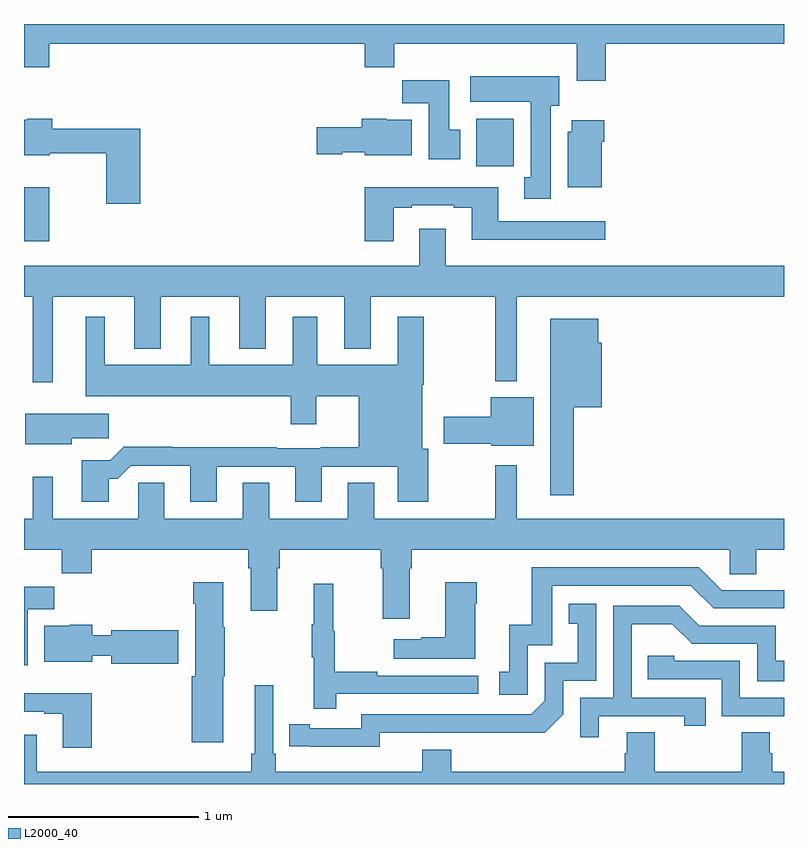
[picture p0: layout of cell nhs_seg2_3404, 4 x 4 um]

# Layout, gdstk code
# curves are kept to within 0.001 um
import gdstk
lib = gdstk.Library(unit=1e-6, precision=1e-09)
def R(c, l, rs):  # rectangles x0, y0, x1, y1
    for r in rs: c.add(gdstk.rectangle(r[:2], r[2:], *l))
def P(c, l, *ps):  # polygons
    for p in ps: c.add(gdstk.Polygon(p, *l))
L2000_40 = (2000, 40)

nhs_seg2_3404 = lib.new_cell('nhs_seg2_3404')
R(nhs_seg2_3404, L2000_40, [(291,586.656,291.134,586.942), (293.381,587.052,293.577,587.302)])
P(nhs_seg2_3404, L2000_40, [(294.062,587.696),(295,587.696),(295,587.8),(291,587.8),(291,587.572),(291.134,587.572),(291.134,587.696),(292.793,587.696),(292.793,587.572),(292.949,587.572),(292.949,587.696),(293.909,587.696),(293.909,587.502),(294.062,587.502)],
  [(293.773,587.37),(293.818,587.37),(293.818,587.524),(293.349,587.524),(293.349,587.39),(293.666,587.39),(293.666,586.993),(293.633,586.993),(293.633,586.881),(293.773,586.881)],
  [(293.296,587.244),(293.239,587.244),(293.239,587.503),(292.99,587.503),(292.99,587.384),(293.129,587.384),(293.129,587.088),(293.296,587.088)],
  [(293.041,587.296),(292.908,587.296),(292.908,587.302),(292.778,587.302),(292.778,587.256),(292.542,587.256),(292.542,587.114),(292.674,587.114),(292.674,587.126),(292.794,587.126),(292.794,587.108),(293.041,587.108)],
  [(291.611,587.248),(291.149,587.248),(291.149,587.302),(291.018,587.302),(291.018,587.296),(291,587.296),(291,587.108),(291.136,587.108),(291.136,587.119),(291.433,587.119),(291.433,586.854),(291.611,586.854)],
  [(294.04,587.18),(294.053,587.18),(294.053,587.293),(293.882,587.293),(293.882,587.232),(293.861,587.232),(293.861,586.94),(294.04,586.94)],
  [(292.945,586.833),(293.041,586.833),(293.041,586.845),(293.261,586.845),(293.261,586.833),(293.357,586.833),(293.357,586.664),(294.058,586.664),(294.058,586.761),(293.497,586.761),(293.497,586.942),(292.793,586.942),(292.793,586.656),(292.945,586.656)],
  [(291.151,586.364),(291.581,586.364),(291.581,586.091),(291.721,586.091),(291.721,586.364),(292.133,586.364),(292.133,586.091),(292.273,586.091),(292.273,586.364),(292.685,586.364),(292.685,586.091),(292.825,586.091),(292.825,586.364),(293.479,586.364),(293.479,585.92),(293.593,585.92),(293.593,586.364),(295,586.364),(295,586.528),(293.221,586.528),(293.221,586.723),(293.081,586.723),(293.081,586.528),(291,586.528),(291,586.364),(291.047,586.364),(291.047,585.915),(291.151,585.915)],
  [(291.445,585.407),(291.494,585.407),(291.561,585.474),(291.875,585.474),(291.875,585.285),(292.015,585.285),(292.015,585.471),(292.427,585.471),(292.427,585.285),(292.567,585.285),(292.567,585.471),(292.967,585.471),(292.967,585.285),(293.127,585.285),(293.127,585.564),(293.095,585.564),(293.095,585.902),(293.103,585.902),(293.103,586.258),(292.967,586.258),(292.967,586.006),(292.543,586.006),(292.543,586.258),(292.415,586.258),(292.415,586.006),(291.976,586.006),(291.976,586.258),(291.878,586.258),(291.878,586.006),(291.424,586.006),(291.424,586.258),(291.326,586.258),(291.326,585.842),(292.403,585.842),(292.403,585.693),(292.537,585.693),(292.537,585.842),(292.763,585.842),(292.763,585.572),(292.563,585.572),(292.563,585.567),(292.331,585.567),(292.331,585.572),(291.779,585.572),(291.779,585.575),(291.524,585.575),(291.454,585.505),(291.305,585.505),(291.305,585.285),(291.445,585.285)],
  [(293.893,585.782),(294.04,585.782),(294.04,586.122),(294.022,586.122),(294.022,586.249),(293.771,586.249),(293.771,585.321),(293.893,585.321)],
  [(293.683,585.835),(293.456,585.835),(293.456,585.734),(293.208,585.734),(293.208,585.592),(293.46,585.592),(293.46,585.581),(293.683,585.581)],
  [(291.25,585.619),(291.445,585.619),(291.445,585.748),(291.006,585.748),(291.006,585.587),(291.25,585.587)],
  [(292.291,585.386),(292.151,585.386),(292.151,585.196),(291.739,585.196),(291.739,585.386),(291.6,585.386),(291.6,585.196),(291.151,585.196),(291.151,585.418),(291.047,585.418),(291.047,585.196),(291,585.196),(291,585.032),(291.199,585.032),(291.199,584.908),(291.356,584.908),(291.356,585.032),(292.181,585.032),(292.181,584.936),(292.193,584.936),(292.193,584.712),(292.333,584.712),(292.333,584.936),(292.346,584.936),(292.346,585.032),(292.877,585.032),(292.877,584.936),(292.889,584.936),(292.889,584.67),(293.029,584.67),(293.029,584.936),(293.042,584.936),(293.042,585.032),(294.714,585.032),(294.714,584.905),(294.853,584.905),(294.853,585.032),(295,585.032),(295,585.196),(293.593,585.196),(293.593,585.478),(293.479,585.478),(293.479,585.196),(292.843,585.196),(292.843,585.386),(292.703,585.386),(292.703,585.196),(292.291,585.196)],
  [(293.652,584.529),(293.781,584.529),(293.781,584.844),(294.51,584.844),(294.63,584.724),(295,584.724),(295,584.82),(294.672,584.82),(294.552,584.94),(293.673,584.94),(293.673,584.638),(293.555,584.638),(293.555,584.391),(293.502,584.391),(293.502,584.271),(293.652,584.271)],
  [(292.048,584.367),(292.056,584.367),(292.056,584.624),(292.048,584.624),(292.048,584.863),(291.89,584.863),(291.89,584.75),(291.902,584.75),(291.902,584.367),(291.884,584.367),(291.884,584.019),(292.048,584.019)],
  [(293.374,584.75),(293.382,584.75),(293.382,584.863),(293.216,584.863),(293.216,584.573),(293.09,584.573),(293.09,584.563),(292.947,584.563),(292.947,584.459),(293.374,584.459)],
  [(292.643,584.274),(293.392,584.274),(293.392,584.37),(292.859,584.37),(292.859,584.39),(292.636,584.39),(292.636,584.604),(292.628,584.604),(292.628,584.854),(292.526,584.854),(292.526,584.641),(292.515,584.641),(292.515,584.467),(292.526,584.467),(292.526,584.196),(292.643,584.196)],
  [(291.019,584.72),(291.158,584.72),(291.158,584.839),(291,584.839),(291,584.424),(291.019,584.424)],
  [(292.872,584.07),(293.74,584.069),(293.838,584.166),(293.838,584.343),(294.012,584.343),(294.012,584.749),(293.866,584.749),(293.866,584.643),(293.915,584.643),(293.915,584.439),(293.742,584.439),(293.742,584.238),(293.67,584.166),(292.776,584.166),(292.776,584.094),(292.504,584.094),(292.504,584.114),(292.396,584.114),(292.396,583.998),(292.872,583.997)],
  [(294.025,584.157),(294.476,584.157),(294.476,584.106),(294.587,584.106),(294.587,584.253),(294.198,584.253),(294.198,584.642),(294.412,584.642),(294.516,584.538),(294.858,584.538),(294.858,584.34),(295,584.34),(295,584.449),(294.957,584.449),(294.957,584.634),(294.553,584.634),(294.448,584.739),(294.102,584.739),(294.102,584.253),(293.928,584.253),(293.928,584.046),(294.025,584.046)],
  [(291.811,584.61),(291.458,584.61),(291.458,584.584),(291.358,584.584),(291.358,584.638),(291.24,584.638),(291.24,584.632),(291.107,584.632),(291.107,584.444),(291.358,584.444),(291.358,584.474),(291.458,584.474),(291.458,584.432),(291.811,584.432)],
  [(295,584.253),(294.768,584.253),(294.768,584.448),(294.423,584.448),(294.423,584.475),(294.283,584.475),(294.283,584.352),(294.672,584.352),(294.672,584.157),(295,584.157)],
  [(295,583.864),(294.938,583.864),(294.938,583.962),(294.925,583.962),(294.925,584.072),(294.778,584.072),(294.778,583.864),(294.321,583.864),(294.321,584.072),(294.173,584.072),(294.173,583.962),(294.161,583.962),(294.161,583.864),(293.249,583.864),(293.249,583.981),(293.096,583.981),(293.096,583.864),(292.325,583.864),(292.325,583.96),(292.311,583.96),(292.311,584.32),(292.214,584.32),(292.214,583.96),(292.195,583.96),(292.195,583.864),(291.067,583.864),(291.067,584.059),(291,584.059),(291,583.8),(295,583.8)],
  [(291.356,584.278),(291,584.278),(291,584.181),(291.107,584.181),(291.107,584.169),(291.203,584.169),(291.203,583.992),(291.356,583.992)])

lib.write_gds('nhs_seg2_3404.gds')
